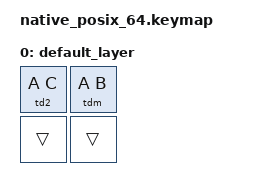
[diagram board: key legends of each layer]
#include <dt-bindings/zmk/keys.h>
#include <behaviors.dtsi>
#include <dt-bindings/zmk/kscan_mock.h>

/ {
    behaviors {
        ht: hold_tap {
            compatible = "zmk,behavior-hold-tap";
            #binding-cells = <2>;
            tapping-term-ms = <200>;
            quick-tap-ms = <0>;
            flavor = "tap-preferred";
            bindings = <&kp>, <&kp>;
        };

        tdm: tap_dance_mixed {
            compatible = "zmk,behavior-tap-dance-param";
            #binding-cells = <2>;
            tapping-term-ms = <100>;
            bindings = <&ht PLACEHOLDER PLACEHOLDER>, <&ht C PLACEHOLDER>, <&ht PLACEHOLDER D>;
            binding-params = <BINDING_PARAM(2,1) BINDING_PARAM(0,1) BINDING_PARAM(2,0)>;
        };

        td2: tap_dance_basic {
            compatible = "zmk,behavior-tap-dance-param";
            #binding-cells = <2>;
            tapping-term-ms = <100>;
            bindings = <&kp PLACEHOLDER>, <&kp B>, <&kp PLACEHOLDER>;
            binding-params = <BINDING_PARAM(1,0) BINDING_PARAM(0,0) BINDING_PARAM(2,0)>;
        };
    };

    keymap {
        compatible = "zmk,keymap";

        default_layer {
            bindings = <
            &td2 A C &tdm A B
            &trans   &trans >;
        };
    };
};

&kscan {
    events = <
        ZMK_MOCK_PRESS(0,0,10)
        ZMK_MOCK_RELEASE(0,0,110)
        ZMK_MOCK_PRESS(0,0,10)
        ZMK_MOCK_RELEASE(0,0,10)
        ZMK_MOCK_PRESS(0,0,10)
        ZMK_MOCK_RELEASE(0,0,110)
        ZMK_MOCK_PRESS(0,0,10)
        ZMK_MOCK_RELEASE(0,0,10)
        ZMK_MOCK_PRESS(0,0,10)
        ZMK_MOCK_RELEASE(0,0,10)
        ZMK_MOCK_PRESS(0,0,10)
        ZMK_MOCK_RELEASE(0,0,110)

        ZMK_MOCK_PRESS(0,1,10)
        ZMK_MOCK_RELEASE(0,1,110)
        ZMK_MOCK_PRESS(0,1,10)
        ZMK_MOCK_RELEASE(0,1,10)
        ZMK_MOCK_PRESS(0,1,10)
        ZMK_MOCK_RELEASE(0,1,110)
        ZMK_MOCK_PRESS(0,1,10)
        ZMK_MOCK_RELEASE(0,1,10)
        ZMK_MOCK_PRESS(0,1,10)
        ZMK_MOCK_RELEASE(0,1,10)
        ZMK_MOCK_PRESS(0,1,10)
        ZMK_MOCK_RELEASE(0,1,110)

        ZMK_MOCK_PRESS(0,1,410)
        ZMK_MOCK_RELEASE(0,1,10)
        ZMK_MOCK_PRESS(0,1,10)
        ZMK_MOCK_RELEASE(0,1,10)
        ZMK_MOCK_PRESS(0,1,410)
        ZMK_MOCK_RELEASE(0,1,10)
        ZMK_MOCK_PRESS(0,1,10)
        ZMK_MOCK_RELEASE(0,1,10)
        ZMK_MOCK_PRESS(0,1,10)
        ZMK_MOCK_RELEASE(0,1,10)
        ZMK_MOCK_PRESS(0,1,410)
        ZMK_MOCK_RELEASE(0,1,10)
    >;
};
